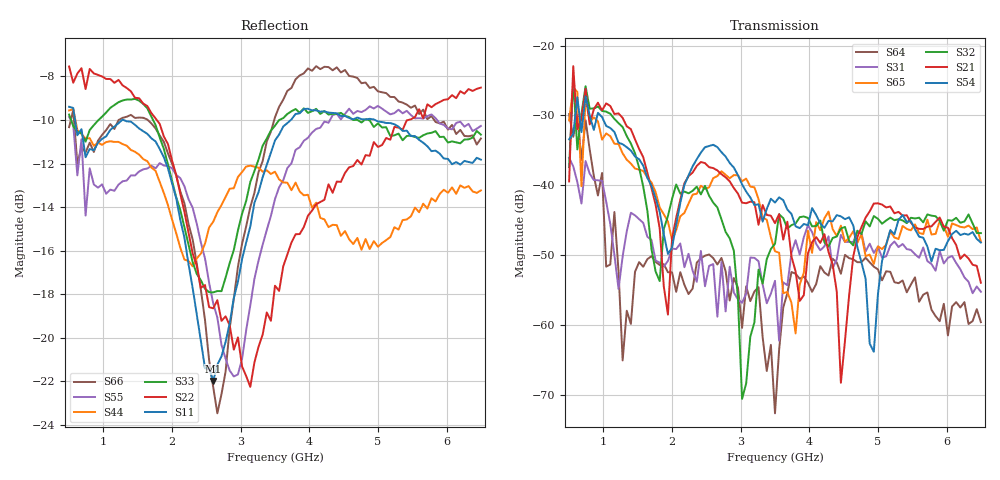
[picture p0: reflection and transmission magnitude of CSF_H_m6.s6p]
!Keysight Technologies,M9804A,MY58100912,A.14.10.03
!Date: Thursday, April 27, 2023 10:28:33
!Correction: S11(C  6-Port  )
!S12(C  6-Port  )
!S13(C  6-Port  )
!S14(C  6-Port  )
!S15(C  6-Port  )
!S16(C  6-Port  )
!S21(C  6-Port  )
!S22(C  6-Port  )
!S23(C  6-Port  )
!S24(C  6-Port  )
!S25(C  6-Port  )
!S26(C  6-Port  )
!S31(C  6-Port  )
!S32(C  6-Port  )
!S33(C  6-Port  )
!S34(C  6-Port  )
!S35(C  6-Port  )
!S36(C  6-Port  )
!S41(C  6-Port  )
!S42(C  6-Port  )
!S43(C  6-Port  )
!S44(C  6-Port  )
!S45(C  6-Port  )
!S46(C  6-Port  )
!S51(C  6-Port  )
!S52(C  6-Port  )
!S53(C  6-Port  )
!S54(C  6-Port  )
!S55(C  6-Port  )
!S56(C  6-Port  )
!S61(C  6-Port  )
!S62(C  6-Port  )
!S63(C  6-Port  )
!S64(C  6-Port  )
!S65(C  6-Port  )
!S66(C  6-Port  )
!S6P File: Measurement: :
# Hz S  RI  R 50
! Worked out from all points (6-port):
!   101 points, 500 MHz to 6.5 GHz, reference 50 ohm
!   strongest paths, dB at 500 MHz, 2 GHz, 3.5 GHz, 5 GHz, 6.5 GHz:
!     S54: -33.4, -48.9, -42.5, -55.6, -48.2
!     S21: -39.5, -47.6, -45.5, -42.6, -54.0
!     S32: -37.4, -42.0, -48.4, -44.8, -46.9
!     S65: -30.7, -47.9, -49.5, -48.8, -48.1
!     S31: -36.1, -49.1, -53.7, -48.8, -55.3
!     S64: -29.8, -52.5, -72.7, -52.1, -59.6
!   lowest |S11| = -22.0 dB at 2.6 GHz (marker M1), VSWR 1.17, Z = 42.9 + j1.91 ohm
!   |S11| at or under -10 dB: 586.3 MHz to 1.274 GHz (688 MHz wide, 74 % of centre); 1.292 GHz to 3.731 GHz (2.44 GHz wide, 97.1 % of centre); 4.955 GHz to end of sweep
